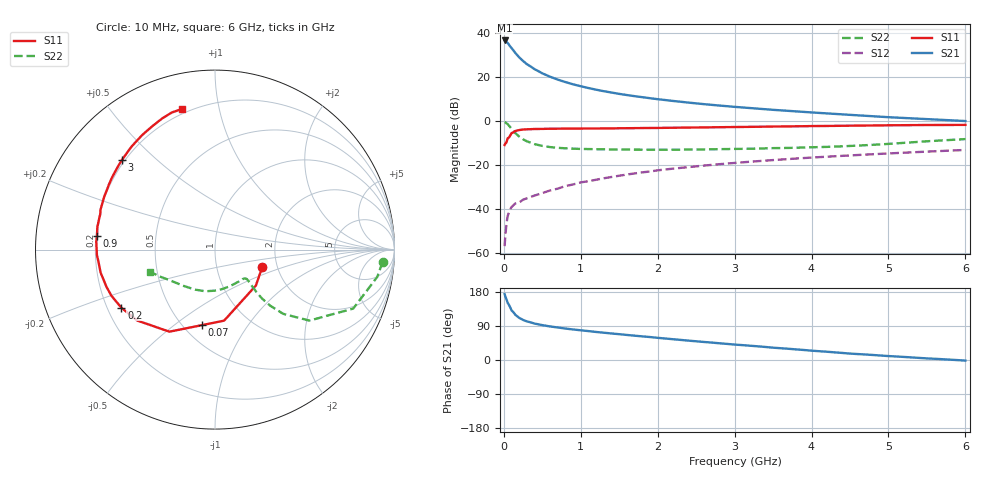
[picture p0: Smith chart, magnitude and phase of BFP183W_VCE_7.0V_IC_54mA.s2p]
! Infineon Technologies  Discrete & RF Semiconductors
! BFP183W
! VCE =  7.0 V,  IC =  54 mA
! Common Emitter S-Parameters:  Jan 2017
# GHz  S  MA  R  50
!  f  S11  S21  S12  S22
! GHz  MAG  ANG  MAG  ANG  MAG  ANG  MAG  ANG
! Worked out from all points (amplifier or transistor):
!   77 points, 10 MHz to 6 GHz, reference 50 ohm
!   highest |S21| = 36.5 dB at 10 MHz (marker M1)
!   |S21| within 3 dB of that: start of sweep to 89.29 MHz
!   unconditionally stable (mu >= 1): 626.4 MHz to 3.377 GHz
!   at 130 MHz: K = 0.41, MSG = 35.0 dB, |S12| = -38.3 dB
!   at 2.2 GHz: K = 1.07, MAG = 13.7 dB, |S12| = -21.8 dB
!   at 6 GHz: K = 0.85, MSG = 6.6 dB, |S12| = -13.3 dB
!   S11 on the Smith chart (normalised r, x): 10 MHz: 1.67, -0.35; 70 MHz: 0.62, -0.64; 200 MHz: 0.26, -0.27; 900 MHz: 0.20, +0.05; 3 GHz: 0.19, +0.39; 6 GHz: 0.17, +0.78
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0.01  0.2808 -20.2  67.18 174.0  0.0014 86.5  0.9363 -4.2
0.02  0.3032 -41.3  65.63 167.3  0.0025 89.4  0.917 -9.5
0.05  0.3991 -82.7  58.91 150.8  0.0068 64.4  0.8374 -23.1
0.07  0.4264 -99.6  52.7 144.1  0.0084 60.6  0.7603 -27.9
0.1  0.5229 -119.0  45.17 130.9  0.0109 57.1  0.6574 -37.0
0.15  0.5863 -137.6  34.8 119.1  0.0131 51.8  0.5218 -43.3
0.2  0.6141 -148.2  27.72 111.2  0.0138 51.4  0.4367 -45.5
0.25  0.6319 -156.0  22.9 105.7  0.016 50.5  0.3797 -46.1
0.3  0.6393 -161.1  19.4 101.8  0.0172 52.0  0.3403 -45.9
0.4  0.65 -168.6  14.88 96.0  0.0199 55.7  0.2932 -44.7
0.5  0.6524 -173.6  12 92.0  0.0226 58.1  0.2679 -43.6
0.6  0.6587 -177.5  10.07 88.6  0.0259 61.1  0.2519 -43.1
0.7  0.6597 179.2  8.646 85.8  0.0285 62.5  0.242 -42.8
0.9  0.6616 173.5  6.744 80.6  0.0355 65.3  0.2318 -44.0
1.1  0.6673 169.0  5.551 76.3  0.0421 66.6  0.227 -45.9
1.5  0.6751 161.0  4.09 68.1  0.0561 67.4  0.2212 -52.2
2.1  0.69 150.0  2.957 56.7  0.0779 66.0  0.2192 -65.5
3  0.7203 136.0  2.071 40.7  0.1097 61.4  0.2285 -89.7
3.1  0.7231 134.6  2.008 39.3  0.1132 60.8  0.2295 -92.4
4.1  0.7588 121.3  1.508 23.2  0.1487 54.5  0.2516 -119.6
5.1  0.7904 110.9  1.181 9.3  0.1839 47.7  0.3055 -146.0
6  0.8051 103.1  0.985 -1.5  0.2167 41.0  0.3826 -161.1
